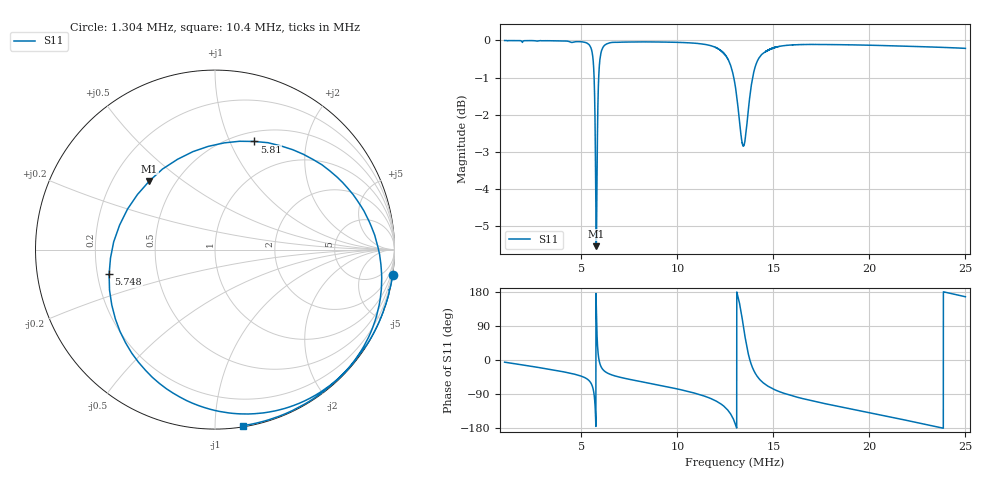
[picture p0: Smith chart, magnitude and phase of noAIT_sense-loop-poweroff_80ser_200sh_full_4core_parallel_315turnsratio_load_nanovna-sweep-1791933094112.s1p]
! NanoVNA Web complex sweep
! Processing: unaveraged complex samples; linear segment spacing; no smoothing
# Hz S RI R 50
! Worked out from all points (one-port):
!   5050 points, 1 MHz to 25 MHz, reference 50 ohm
!   lowest |S11| = -5.5 dB at 5.777 MHz (marker M1), VSWR 3.25, Z = 17.9 + j19 ohm
!   |S11| at or under -10 dB: nowhere
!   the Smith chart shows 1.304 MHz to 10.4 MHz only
!   S11 on the Smith chart (normalised r, x): 1.304 MHz: 0, -14; 5.748 MHz: 0.25, -0.11; 5.81 MHz: 0.61, +1.24; 10.4 MHz: 0.01, -1.17
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1000000  0.9945 -0.0997
1304192  0.9895 -0.1409
4003896  0.8595 -0.5078
5206405  0.6733 -0.7303
5572386  0.3344 -0.8987
5672199  -0.0914 -0.8691
5748247  -0.59 -0.138
5776765  -0.3651 0.3828
5810036  0.2191 0.6025
5881331  0.8451 0.1851
5985897  0.9271 -0.2178
6271077  0.8381 -0.5226
7003039  0.6979 -0.7082
1.000218e7  0.2321 -0.9664
1.040143e7  0.1539 -0.9809
1.226461e7  -0.4238 -0.8713
1.269713e7  -0.6841 -0.6387
1.300132e7  -0.8483 -0.2023
1.321521e7  -0.7076 0.3436
1.342434e7  -0.037 0.7207
1.362397e7  0.6551 0.4117
1.380934e7  0.8513 -0.0891
1.408976e7  0.7305 -0.5723
1.445574e7  0.4843 -0.8294
1.600047e7  -0.0826 -0.982
1.899961e7  -0.6208 -0.7663
2.199875e7  -0.9225 -0.3363
2.49979e7  -0.9502 0.2209
